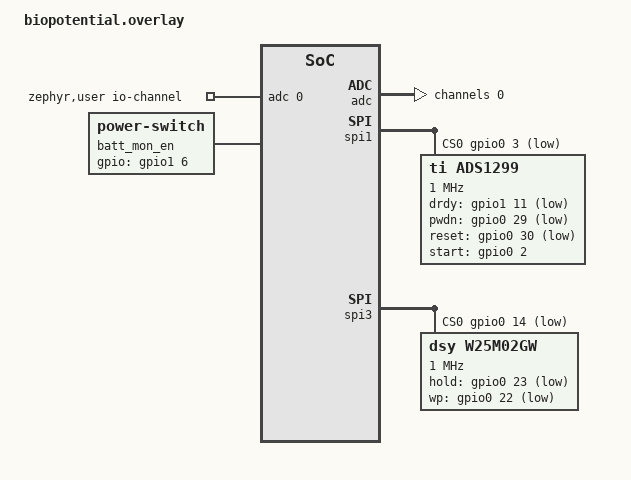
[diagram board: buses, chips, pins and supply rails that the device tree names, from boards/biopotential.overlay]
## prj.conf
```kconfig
CONFIG_GPIO=y
CONFIG_SPI=y
CONFIG_ADC=y
CONFIG_APPLICATION_DEFINED_SYSCALL=y

#Logging
CONFIG_LOG=y
CONFIG_LOG_MODE_DEFERRED=y
CONFIG_LOG_PROCESS_THREAD=y
CONFIG_LOG_PROCESS_THREAD_PRIORITY=7


CONFIG_UART_CONSOLE=n
CONFIG_CONSOLE=y
CONFIG_USE_SEGGER_RTT=y
CONFIG_RTT_CONSOLE=y
CONFIG_LOG_BUFFER_SIZE=4096
CONFIG_SEGGER_RTT_BUFFER_SIZE_UP=1024
CONFIG_SEGGER_RTT_BUFFER_SIZE_DOWN=1024



# Bluetooth LE
CONFIG_BT=y
CONFIG_BT_PERIPHERAL=y
CONFIG_BT_DEVICE_NAME="NI-ECG-01"
CONFIG_BT_CTLR=y
CONFIG_BT_CTLR_TX_PWR_PLUS_8=y
CONFIG_BT_LL_SW_SPLIT=y

CONFIG_BT_L2CAP_TX_MTU=247
CONFIG_BT_CTLR_DATA_LENGTH_MAX=251
CONFIG_BT_BUF_ACL_RX_SIZE=251
CONFIG_BT_BUF_ACL_RX_COUNT=8
CONFIG_BT_BUF_ACL_TX_SIZE=251
CONFIG_BT_BUF_ACL_TX_COUNT=8
CONFIG_BT_BUF_CMD_TX_COUNT=8
CONFIG_BT_PERIPHERAL_PREF_MIN_INT=6
CONFIG_BT_PERIPHERAL_PREF_MAX_INT=6
CONFIG_BT_PERIPHERAL_PREF_LATENCY=0
CONFIG_BT_PERIPHERAL_PREF_TIMEOUT=200
CONFIG_BT_RX_STACK_SIZE=4096



# Increase stack size for the main thread and System Workqueue

CONFIG_SYSTEM_WORKQUEUE_STACK_SIZE=8196
CONFIG_MAIN_STACK_SIZE=8196
CONFIG_NET_TX_STACK_SIZE=2048




CONFIG_DK_LIBRARY=y



CONFIG_CPU_LOAD=y
CONFIG_CPU_LOAD_LOG_INTERVAL=2000
CONFIG_CPU_LOAD_LOG_PERIODIC=y


# STEP 2 - Enable MCUboot and FOTA
# CONFIG_MAX86141=y
CONFIG_ADS1299=y

CONFIG_ADS1299_SAMPLE_RATE=250
CONFIG_MAX30003=y
CONFIG_W25M02GW=y
CONFIG_BOOTLOADER_MCUBOOT=y
CONFIG_NCS_SAMPLE_MCUMGR_BT_OTA_DFU=y

# DSP
CONFIG_CMSIS_DSP=y

# Stack safety
CONFIG_THREAD_STACK_INFO=y
CONFIG_THREAD_ANALYZER=y
CONFIG_THREAD_ANALYZER_AUTO=y
CONFIG_THREAD_ANALYZER_RUN_UNLOCKED=y
```

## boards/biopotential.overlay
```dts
/ {
    zephyr,user {
        io-channels = <&adc 0>;
    };

	batt_mon_en: batt_mon_en {
		compatible = "power-switch";
        status = "okay";
		gpios= <&gpio1 6 GPIO_ACTIVE_HIGH>;
	};


};


&adc {
	#address-cells = <1>;
	#size-cells = <0>;
	status = "okay";
	channel@0 {
		reg = <0>;
		zephyr,gain = "ADC_GAIN_1_6";
		zephyr,reference = "ADC_REF_INTERNAL";
		zephyr,acquisition-time = <ADC_ACQ_TIME_DEFAULT>;
		zephyr,input-positive = <NRF_SAADC_AIN2>; /* P0.02 for nRF52xx, P0.04 for nRF5340 */
		zephyr,resolution = <12>;
	};
};


&i2c0 {	status = "disabled";};
&i2c1 {	status = "disabled";};
&gpio1{
	status = "okay";
};


	
&spi1 {
    compatible = "nordic,nrf-spim";
	status = "okay";
	pinctrl-names = "default", "sleep";
	cs-gpios = <&gpio0 3 GPIO_ACTIVE_LOW>;
	ads1299: ads1299@0 {
		compatible = "ti,ads1299";
		reg = <0>;
		spi-max-frequency = <1000000>; 
        drdy-gpios = <&gpio1 11 GPIO_ACTIVE_LOW>;
        pwdn-gpios = <&gpio0 29 GPIO_ACTIVE_LOW>;
        reset-gpios = <&gpio0 30 GPIO_ACTIVE_LOW>;
        start-gpios = <&gpio0 2 GPIO_ACTIVE_HIGH>;
	};


};

&spi3 {
    compatible = "nordic,nrf-spim";
    status = "okay";
    pinctrl-names = "default", "sleep";
    cs-gpios = <&gpio0 14 GPIO_ACTIVE_LOW>;
    w25m02gw: w25m02gw@0 {
        compatible = "dsy,w25m02gw";
        reg = <0>;
        spi-max-frequency = <1000000>;
        hold-gpios = <&gpio0 23 GPIO_ACTIVE_LOW>;
        wp-gpios = <&gpio0 22 GPIO_ACTIVE_LOW>;
    };
};







&spi1_default {
    group1 {
        psels = <NRF_PSEL(SPIM_SCK, 0, 5)>,
                <NRF_PSEL(SPIM_MOSI, 0, 28)>,
                <NRF_PSEL(SPIM_MISO, 0, 8)>;
    };
};


&uart0 {
    status = "disabled";
};


&spi3_default {
    group1 {
        psels = <NRF_PSEL(SPIM_SCK, 0, 19)>,
                <NRF_PSEL(SPIM_MISO, 0, 21)>,
                <NRF_PSEL(SPIM_MOSI, 0, 20)>;
    };
};
```

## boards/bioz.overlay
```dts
/ {
    zephyr,user {
        io-channels = <&adc 0>;
    };

	batt_mon_en: batt_mon_en {
		compatible = "power-switch";
        status = "okay";
		gpios= <&gpio1 6 GPIO_ACTIVE_HIGH>;
	};


};


&adc {
	#address-cells = <1>;
	#size-cells = <0>;
	status = "okay";
	channel@0 {
		reg = <0>;
		zephyr,gain = "ADC_GAIN_1_6";
		zephyr,reference = "ADC_REF_INTERNAL";
		zephyr,acquisition-time = <ADC_ACQ_TIME_DEFAULT>;
		zephyr,input-positive = <NRF_SAADC_AIN2>; /* P0.02 for nRF52xx, P0.04 for nRF5340 */
		zephyr,resolution = <12>;
	};
};


&i2c0 {	status = "disabled";};
&i2c1 {	status = "disabled";};
&gpio1{
	status = "okay";
};


	
&spi1 {
    compatible = "nordic,nrf-spim";
	status = "okay";
	pinctrl-names = "default", "sleep";
	cs-gpios = <&gpio0 28 GPIO_ACTIVE_LOW>;
	afe4960: afe4960@0 {
		compatible = "ti,afe4960";
		reg = <0>;
		spi-max-frequency = <800000>; 
        drdy-gpios = <&gpio0 3 GPIO_ACTIVE_HIGH>;
        rst-gpios = <&gpio0 5 GPIO_ACTIVE_LOW>;
	};


};

&spi3 {
    compatible = "nordic,nrf-spim";
    status = "okay";
    pinctrl-names = "default", "sleep";
    cs-gpios = <&gpio0 14 GPIO_ACTIVE_LOW>;
    w25m02gw: w25m02gw@0 {
        compatible = "dsy,w25m02gw";
        reg = <0>;
        spi-max-frequency = <1000000>;
        hold-gpios = <&gpio0 23 GPIO_ACTIVE_LOW>;
        wp-gpios = <&gpio0 22 GPIO_ACTIVE_LOW>;
    };
};







&spi1_default {
    group1 {
        psels = <NRF_PSEL(SPIM_SCK, 0, 31)>,
                <NRF_PSEL(SPIM_MOSI, 0, 30)>,
                <NRF_PSEL(SPIM_MISO, 0, 29)>;
    };
};


&uart0 {
    status = "disabled";
};


&spi3_default {
    group1 {
        psels = <NRF_PSEL(SPIM_SCK, 0, 19)>,
                <NRF_PSEL(SPIM_MISO, 0, 21)>,
                <NRF_PSEL(SPIM_MOSI, 0, 20)>;
    };
};
```

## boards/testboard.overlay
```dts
&i2c0 {	status = "disabled";};

&i2c1 {	status = "disabled";};
&gpio1{
	status = "okay";
};
	


&spi3 {
    compatible = "nordic,nrf-spim";
    status = "okay";
    pinctrl-names = "default", "sleep";
    cs-gpios = <&gpio0 17 GPIO_ACTIVE_LOW>;
    w25m02gw: w25m02gw@0 {
        compatible = "dsy,w25m02gw";
        reg = <0>;
        spi-max-frequency = <1000000>;
        hold-gpios = <&gpio0 23 GPIO_ACTIVE_LOW>;
        wp-gpios = <&gpio0 22 GPIO_ACTIVE_LOW>;
    };
};







&spi1_default {
    group1 {
        psels = <NRF_PSEL(SPIM_SCK, 0, 5)>,
                <NRF_PSEL(SPIM_MOSI, 0, 28)>,
                <NRF_PSEL(SPIM_MISO, 0, 8)>;
    };
};


&uart0 {
    status = "disabled";
};


&spi3_default {
    group1 {
        psels = <NRF_PSEL(SPIM_SCK, 0, 19)>,
                <NRF_PSEL(SPIM_MISO, 0, 21)>,
                <NRF_PSEL(SPIM_MOSI, 0, 20)>;
    };
};
```

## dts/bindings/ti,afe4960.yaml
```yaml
# Copyright (c) 2023, Nordic Semiconductor
# SPDX-License-Identifier: Apache-2.0

description: AFE4960 24-bit, 8-Channel, 32kSPS, Analog-to-Digital Converter

compatible: "ti,afe4960"

include: spi-device.yaml

properties:
  drdy-gpios:
    type: phandle-array
    required: false
    description: INT interrupt pin

  rst-gpios:
    type: phandle-array
    required: false
    description: Reset pin
```

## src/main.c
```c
/*
 * Copyright (c) 2024 Nordic Semiconductor ASA
 *
 * SPDX-License-Identifier: LicenseRef-Nordic-5-Clause
 */

#include <stdio.h>
#include <zephyr/kernel.h>
#include <zephyr/device.h>
#include <zephyr/devicetree.h>
#include <zephyr/drivers/gpio.h>
#include <zephyr/drivers/spi.h>
#include <zephyr/logging/log.h>
#include <zephyr/sys/util.h>
#include <zephyr/init.h>

#include <zephyr/bluetooth/bluetooth.h>
#include <zephyr/bluetooth/gap.h>
#include <zephyr/bluetooth/uuid.h>
#include <zephyr/bluetooth/conn.h>

#include <zephyr/kernel/thread.h>

#include "ble.h"


#include <debug/cpu_load.h>
#include <arm_math.h>
// #include <max86141.h>

LOG_MODULE_REGISTER(MAXBLE, LOG_LEVEL_INF);

#define SPIOP	SPI_WORD_SET(8) | SPI_TRANSFER_MSB




#define BLOCK_SIZE 32
#define NUM_TAPS 51

// Example FIR low-pass filter coefficients




// K_THREAD_DEFINE(computationally_exp, 4096, computation_task, NULL, NULL, NULL, 7, 0, 0);
void print_thread_info(const struct k_thread *thread, void *user_data)
{
    const char *thread_name = k_thread_name_get((struct k_thread *)thread);
    
    printk("Thread ID: %p, Name: %s, Priority: %d\n",
           thread, 
           thread_name ? thread_name : "Unnamed",
           k_thread_priority_get((struct k_thread *)thread));
}

void main(void)
{
    // printk("Listing all threads:\n");
    // k_thread_foreach(print_thread_info, NULL);
    // printk("Listing all threads:\n");
    // k_thread_foreach(print_thread_info, NULL);
    // thread_analyzer_print();
    cpu_load_init();
}
```

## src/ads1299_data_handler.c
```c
// ads1299_data_handler.c

#include <stdio.h>
#include <string.h>
#include <zephyr/kernel.h>
#include <zephyr/device.h>
#include <zephyr/logging/log.h>
#include <zephyr/sys/util.h>

#include "ads1299.h"
#include "ble_sensor_control.h"
#include "disk.h"
#include "w25m02gw.h"

LOG_MODULE_REGISTER(ads1299_data_handler, LOG_LEVEL_DBG);

// Constants


////////////////////////////////////////////////
#define DEBUG_MODE 0 // Do NOT FORGET THIS!!!!!!
////////////////////////////////////////////////
#if DEBUG_MODE
#include <math.h>

#define NUM_CHANNELS 8
#define M_PI 3.14159
#define DEG_TO_RAD(angle) ((angle) * M_PI / 180.0f)

static int generate_sine_wave(uint8_t *buffer, size_t size, size_t sample_rate, float frequency, float amplitude)
{
    static size_t sample_index = 0;
    int32_t *int_buffer = (int32_t *)buffer;

    // Phase shift in radians for each channel (10 degrees per channel)
    float phase_shift[NUM_CHANNELS];
    for (int i = 0; i < NUM_CHANNELS; i++) {
        phase_shift[i] = DEG_TO_RAD(10 * i);
    }

    size_t total_samples = size / sizeof(int32_t);

    for (size_t i = 0; i < total_samples; i++) {
        // Calculate the current channel (wraps around NUM_CHANNELS)
        int channel = i % NUM_CHANNELS;

        // Generate the sine wave for the current channel
        float angle = 2.0f * M_PI * frequency * (sample_index / (float)sample_rate) + phase_shift[channel];
        int_buffer[i] = (int32_t)(amplitude * sin(angle));

        // Increment sample_index for the first channel only
        if (channel == NUM_CHANNELS - 1) {
            sample_index++;
        }
    }

    return 0;
}
#endif


#define ADS1299_DATA_BUFFER_SIZE 27   // 27 bytes from ADS1299
#define ADS1299_NUM_CHANNELS 8

#define FLASH_PAGE_SIZE 2048          // 2048 bytes per page
#define FLASH_PAGES_PER_BLOCK 64
#define FLASH_BLOCK_SIZE (FLASH_PAGE_SIZE * FLASH_PAGES_PER_BLOCK)
#define FLASH_TOTAL_BLOCKS 1024

#define FLASH_BUFFER_SIZE 512          // Number of int32_t samples to buffer before writing to flash

#define BLE_PACKAGE_SIZE 128           // BLE package size in bytes
#define BLE_SAMPLES_PER_PACKAGE (BLE_PACKAGE_SIZE / (ADS1299_NUM_CHANNELS * sizeof(int32_t))) // 4 samples per channel

#define PRIORITY 1

// Device instance
const struct device *ads1299_dev = DEVICE_DT_GET(DT_NODELABEL(ads1299));
const struct device *w25m02gw_dev = DEVICE_DT_GET(DT_NODELABEL(w25m02gw));

// Data buffers
static uint8_t data_buffer[ADS1299_DATA_BUFFER_SIZE] = {0};
static int32_t flash_buffer[FLASH_BUFFER_SIZE] = {0};
static int32_t read_buffer[FLASH_BUFFER_SIZE] = {0};

// Indices and counters
static uint16_t flash_buffer_index = 0;
static uint16_t write_block_addr = 0;
static uint16_t write_page_addr = 0;
static uint16_t read_block_addr = 0;
static uint16_t read_page_addr = 0;
static size_t read_offset = 0;

static uint8_t recording_active = 1;  // Set to 1 to enable recording
static uint32_t data_counter = 0;

// BLE streaming buffer
static int32_t ble_stream_buffer[ADS1299_NUM_CHANNELS * BLE_SAMPLES_PER_PACKAGE] = {0};
static uint16_t ble_sample_index = 0;

// BLE callback struct


// Function prototypes
static void process_data(uint8_t *data_buffer);
static void write_flash_buffer(void);
static int download_data(uint8_t *output_buffer, size_t buffer_size);
static int sensor_read_data_cb(uint8_t *data);



// Process ADS1299 data and store in flash buffer
static size_t num_byte_ready(void)
{
    size_t write_offset = (write_block_addr * FLASH_BLOCK_SIZE) + (write_page_addr * FLASH_PAGE_SIZE);
    size_t read_offset_total = (read_block_addr * FLASH_BLOCK_SIZE) + (read_page_addr * FLASH_PAGE_SIZE) + read_offset;

    if (write_offset >= read_offset_total) {
        return write_offset - read_offset_total; // Normal case
    } else {
        return (FLASH_TOTAL_BLOCKS * FLASH_BLOCK_SIZE) - (read_offset_total - write_offset); // Wrap-around case
    }
}


static void preload_dummy_data(void)
{
#if DEBUG_MODE

    write_block_addr = 40;
    write_page_addr = 0;

#endif
}


static void process_data(uint8_t *data_buffer)
{
    uint32_t status = 0;

    // Combine the 3 status bytes into a 24-bit status word
    status = (data_buffer[0] << 16) | (data_buffer[1] << 8) | data_buffer[2];

    for (int i = 0; i < ADS1299_NUM_CHANNELS; i++) {
        // Combine three bytes into a 24-bit signed integer (two's complement)
        int32_t raw_value = (int32_t)((data_buffer[3 + (i * 3)] << 16) |
                                      (data_buffer[4 + (i * 3)] << 8) |
                                      (data_buffer[5 + (i * 3)]));

        // Sign extension for negative values
        if (raw_value & 0x800000) {
            raw_value |= 0xFF000000;
        }

        // Store the converted data into the flash buffer
        flash_buffer[flash_buffer_index++] = raw_value;

        // Store data into BLE stream buffer
        // ble_stream_buffer[ble_sample_index++] = raw_value;

        // Check if BLE stream buffer is full
        // if (ble_sample_index >= (ADS1299_NUM_CHANNELS * BLE_SAMPLES_PER_PACKAGE)) {
        //     send_ble_package();
        //     ble_sample_index = 0;
        // }
    }

    // Check if flash buffer is full and write to flash
    if (flash_buffer_index >= FLASH_BUFFER_SIZE) {
        write_flash_buffer();
        flash_buffer_index = 0;
    }
}

// Write flash buffer to flash memory
static void write_flash_buffer(void)
{
    int err;

    // Write the flash_buffer to flash memory
    err = w25m02gw_write(w25m02gw_dev, write_block_addr, write_page_addr, (uint8_t *)flash_buffer, sizeof(flash_buffer));
    if (err < 0) {
        LOG_ERR("Failed to write data to flash");
        return;
    }

    // Update page and block addresses
    write_page_addr++;
    if (write_page_addr >= FLASH_PAGES_PER_BLOCK) {
        write_page_addr = 0;
        write_block_addr = (write_block_addr + 1) % FLASH_TOTAL_BLOCKS;
        // Erase the new block before writing
        err = w25m02gw_erase_block(w25m02gw_dev, write_block_addr);
        if (err < 0) {
            LOG_ERR("Failed to erase flash block");
            return;
        }
    }

    // Prevent overwriting unread data
    if ((write_block_addr == read_block_addr) && (write_page_addr == read_page_addr)) {
        LOG_ERR("Flash buffer overflow: overwriting unread data");
        // Handle overflow (e.g., stop recording, overwrite old data, etc.)
        recording_active = 0;  // Example action: stop recording
    }
}

// Download data from flash memory for BLE transmission
// static int download_data(uint8_t *output_buffer, size_t buffer_size)
// {
//     int err;

//     if (read_offset == 0) {
//         // Read a page from flash into the read_buffer

//         err = w25m02gw_read(w25m02gw_dev, read_block_addr, read_page_addr, 0, (uint8_t *)read_buffer, sizeof(read_buffer));

//         if (err < 0) {
//             LOG_ERR("Failed to read data from flash");
//             return -1;
//         }

//         printk("Read buffer (int32_t):\n");
//         for (size_t i = 0; i < FLASH_BUFFER_SIZE; i++) {
//             printk("[%d]: %d\n", i, read_buffer[i]);
//         }
//     }
//     printk("Read offset: %d\n", read_offset);

//     // Calculate how much data we can copy
//     size_t bytes_available = sizeof(read_buffer) - read_offset;
//     size_t bytes_to_copy = MIN(buffer_size, bytes_available);

//     // Copy data from read_buffer to output_buffer
//     printk("Bytes to copy: %d\n", bytes_to_copy);
//     memcpy(output_buffer, ((uint8_t *)read_buffer) + read_offset, bytes_to_copy);
//     read_offset += bytes_to_copy;

//     // If we've read the entire page, move to the next one
//     if (read_offset >= sizeof(read_buffer)) {
//         read_offset = 0;
//         read_page_addr++;
//         if (read_page_addr >= FLASH_PAGES_PER_BLOCK) {
//             read_page_addr = 0;
//             read_block_addr = (read_block_addr + 1) % FLASH_TOTAL_BLOCKS;
//         }
//     }

//     return bytes_to_copy;
// }


static int download_data(uint8_t *output_buffer, size_t buffer_size)
{
    int err;

    if (read_offset == 0) {
#if DEBUG_MODE
        // Generate a sine wave instead of reading from flash
        err = generate_sine_wave((uint8_t *)read_buffer, sizeof(read_buffer), 1000, 10.0f, 1000000.0f); // 1 kHz sample rate, 10 Hz sine wave, amplitude 1M
        if (err < 0) {
            LOG_ERR("Failed to generate sine wave data");
            return -1;
        }
#else
        // Read a page from flash into the read_buffer
        err = w25m02gw_read(w25m02gw_dev, read_block_addr, read_page_addr, 0, (uint8_t *)read_buffer, sizeof(read_buffer));
        if (err < 0) {
            LOG_ERR("Failed to read data from flash");
            return -1;
        }
#endif

        // Debugging: Print the content of the read_buffer as int32_t
        printk("Read buffer (int32_t):\n");
        for (size_t i = 0; i < FLASH_BUFFER_SIZE; i++) {
            printk("[%d]: %d\n", i, read_buffer[i]);
        }
    }

    // Calculate how much data we can copy
    size_t bytes_available = sizeof(read_buffer) - read_offset;
    size_t bytes_to_copy = MIN(buffer_size, bytes_available);

    // Copy data from read_buffer to output_buffer
    printk("Bytes to copy: %d\n", bytes_to_copy);
    memcpy(output_buffer, ((uint8_t *)read_buffer) + read_offset, bytes_to_copy);
    read_offset += bytes_to_copy;

    // If we've read the entire page, move to the next one
    if (read_offset >= sizeof(read_buffer)) {
        read_offset = 0;
        read_page_addr++;
        if (read_page_addr >= FLASH_PAGES_PER_BLOCK) {
            read_page_addr = 0;
            read_block_addr = (read_block_addr + 1) % FLASH_TOTAL_BLOCKS;
        }
    }

    return bytes_to_copy;
}


// BLE callback function to read data
static int sensor_read_data_cb(uint8_t *data)
{
    printk("Reading data cb found\n");
    // Define the size of data to read (128 bytes)
    size_t data_size = BLE_PACKAGE_SIZE;
    int bytes_read = download_data(data, data_size);
    if (bytes_read < 0) {
        // Handle error
        return -1;
    }
    return bytes_read;
}


static int toggle_sensor(uint8_t value)
{
    printk("This is triggered\n");
    if (value) {
        // Wake up sensor
        ads1299_wakeup(ads1299_dev);
    } else {
        // Put sensor in standby
        ads1299_standby(ads1299_dev);

    }
    return 0;
}
// Initialize BLE callbacks
struct ble_sensor_ctrl_cb control_cb = {
    .sensor_read_data_cb = sensor_read_data_cb,
    .sensor_switch_cb = toggle_sensor,
    .sensor_read_fifo_size_cb = num_byte_ready
    // Initialize other callbacks if necessary
};

// Data acquisition thread
void data_thread(void)
{
    int err;
    printk("Is this even executed????\n");
    // Register BLE callbacks
    register_ble_cb(&control_cb);

    #if DEBUG_MODE
    preload_dummy_data();
    #endif

    if (!device_is_ready(ads1299_dev)) {
        LOG_ERR("ADS1299 device not ready");
        return;
    }

    while (1) {
        // Read data from ADS1299
        err = ads1299_read_data(ads1299_dev, data_buffer, ADS1299_DATA_BUFFER_SIZE);
        if (err == 0) {
            // Process raw data
            data_counter++;
            process_data(data_buffer);

            // Save data to flash if recording is active
            if (recording_active) {
                // Data is already saved in process_data
            }

            k_yield();
        } else {
            LOG_ERR("Failed to read data from ADS1299");
            // Handle read error if necessary
        }
    }
}

// Define the data_thread as a Zephyr thread
K_THREAD_DEFINE(data_thread_id, 4096, data_thread, NULL, NULL, NULL, PRIORITY, 0, 0);
```

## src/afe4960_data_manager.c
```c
// // File: src/sensor_data_manager.c

#include <stdio.h>
#include <string.h>
#include <zephyr/kernel.h>
#include <zephyr/device.h>
#include <zephyr/logging/log.h>
#include <zephyr/sys/util.h>

#include "afe4960.h"
#include "ble_sensor_control.h"
// #include "disk.h"
// #include "stream.h"

#define PRIORITY -1
const struct device *afe4960_dev = DEVICE_DT_GET(DT_NODELABEL(afe4960));
LOG_MODULE_REGISTER(AFE4960_DATA_MANAGER, LOG_LEVEL_INF);
// Main data thread

static int process_raw_data(uint8_t *data_buffer, int32_t *ecg_buffer, int32_t *biozi_buffer, int32_t *biozq_buffer)
{
    int ecg_index = 0;
    int bioz_i_index = 0;
    int bioz_q_index = 0;

    // Process 900 bytes of data_buffer
    for (int i = 0; i < 384; i += 3) {
        // Combine three bytes into a 24-bit unsigned integer (big-endian)
        uint32_t raw_data = (uint32_t)(data_buffer[i] << 16 | data_buffer[i + 1] << 8 | data_buffer[i + 2]);

        // Extract the tag bits (bits [1:0])
        uint8_t tag = raw_data & 0x03;

        // Extract the 22-bit data (bits [23:2])
        int32_t data_value = (raw_data >> 2) & 0x003FFFFF;

        // Sign-extend the 22-bit data to a 32-bit signed integer
        if (data_value & 0x00200000) {
            data_value |= 0xFFC00000; // Set bits [31:22] to 1 for negative numbers
        }

        // Switch based on the tag to assign data to the correct buffer
        switch (tag) {
            case 0x01: // ECG sample
                if (ecg_index < 100) {
                    ecg_buffer[ecg_index++] = data_value;
                }
                break;
            case 0x02: // BioZ-I sample
                LOG_ERR("TAG 10? You shouldn't be here");
                break;
            case 0x03: // BioZ-Q sample
                LOG_ERR("TAG 11? You shouldn't be here");
                break;
            default:
                // Ignore unknown tags
                break;
        }
    }

    return 0;
}

void afe4960_data_thread(void)
{
    LOG_INF("data_thread started. Thread ID: %p", k_current_get());
    k_thread_name_set(k_current_get(), "DataThread");

    uint8_t data_buffer[384] = {0};
    int32_t ecg_buffer[128] = {0};
    int32_t biozi_buffer[128] = {0};
    int32_t biozq_buffer[128] = {0};
    int32_t ecg_chunk[4] = {0};

    int err;

    if (!device_is_ready(afe4960_dev)) {
        LOG_ERR("AFE4960 device not ready");
        return;
    }

    while (1) {
        // Read data from AFE4960 (controlled by semaphore)
        err = afe4960_read_data(afe4960_dev, data_buffer);
        if (err < 0) {
            LOG_ERR("Failed to read data from AFE4960: %d", err);
            continue;
        }

        // Process raw data into separate buffers
        err = process_raw_data(data_buffer, ecg_buffer, biozi_buffer, biozq_buffer);
        if (err < 0) {
            LOG_ERR("Failed to process raw data: %d", err);
            continue;
        }

        // Split ecg_buffer into chunks of 5 samples each
        for (int i = 0; i < 128; i += 4) {
            memcpy(ecg_chunk, &ecg_buffer[i], sizeof(ecg_chunk));

            // Stream the chunk
            err = stream_sensor_data(0, ecg_chunk, sizeof(ecg_chunk));
            if (err < 0) {
                LOG_ERR("Failed to stream ECG data: %d", err);
            }
        }

        k_yield();
    }
}

// K_THREAD_DEFINE(afe4960_data_thread_id, 4096 * 4, afe4960_data_thread, NULL, NULL, NULL, PRIORITY, 0, 0);
```

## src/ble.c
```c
// ble.c
#include <zephyr/types.h>
#include <stddef.h>
#include <string.h>
#include <errno.h>
#include <zephyr/sys/printk.h>
#include <zephyr/sys/byteorder.h>
#include <zephyr/kernel.h>
#include <zephyr/logging/log.h>
#include <zephyr/bluetooth/bluetooth.h>
#include <zephyr/bluetooth/hci.h>
#include <zephyr/bluetooth/conn.h>
#include <zephyr/bluetooth/uuid.h>
#include <zephyr/bluetooth/gatt.h>
#include <zephyr/device.h>
#include <zephyr/devicetree.h>
#include <zephyr/sys/reboot.h>

#include "ble.h"
#include "sensor_data_manager.h"
#include "max86141.h"
#include "state.h"

// #define PRIO K_HIGHEST_APPLICATION_THREAD_PRIO + 1
#define PRIO 7

LOG_MODULE_REGISTER(BLE);


static bool sensor_state = false;



// const SystemStatus* sys_stat_ptr; 

static bool stream_sensor_channel1_enabled;
static bool stream_sensor_channel2_enabled;
static bool stream_sensor_channel3_enabled;
static bool stream_sensor_channel4_enabled;
static bool stream_sensor_channel5_enabled;
static bool stream_sensor_channel6_enabled;
static bool stream_sensor_channel7_enabled;
static bool stream_sensor_channel8_enabled;
static bool stream_sensor_hr_enabled;
static bool stream_sensor_spo2_enabled;
static bool stream_sensor_temp_enabled;
static bool stream_sensor_glucose_enabled;
static bool is_streaming = false;
static bool is_sensor_on = false;

static char dbg_message[1024]="Hello world\n\0";
static struct ble_cb cb;



static void ble_ccc_stream_channel1_cfg_changed(const struct bt_gatt_attr *attr, uint16_t value)
{
	stream_sensor_channel1_enabled = (value == BT_GATT_CCC_NOTIFY);
}
static void ble_ccc_stream_channel2_cfg_changed(const struct bt_gatt_attr *attr, uint16_t value)
{
	stream_sensor_channel2_enabled = (value == BT_GATT_CCC_NOTIFY);
}
static void ble_ccc_stream_channel3_cfg_changed(const struct bt_gatt_attr *attr, uint16_t value)
{
	stream_sensor_channel3_enabled = (value == BT_GATT_CCC_NOTIFY);
}
static void ble_ccc_stream_channel4_cfg_changed(const struct bt_gatt_attr *attr, uint16_t value)
{
	stream_sensor_channel4_enabled = (value == BT_GATT_CCC_NOTIFY);
}
static void ble_ccc_stream_channel5_cfg_changed(const struct bt_gatt_attr *attr, uint16_t value)
{
	stream_sensor_channel5_enabled = (value == BT_GATT_CCC_NOTIFY);
}
static void ble_ccc_stream_channel6_cfg_changed(const struct bt_gatt_attr *attr, uint16_t value)
{
	stream_sensor_channel6_enabled = (value == BT_GATT_CCC_NOTIFY);
}
static void ble_ccc_stream_channel7_cfg_changed(const struct bt_gatt_attr *attr, uint16_t value)
{
	stream_sensor_channel7_enabled = (value == BT_GATT_CCC_NOTIFY);
}
static void ble_ccc_stream_channel8_cfg_changed(const struct bt_gatt_attr *attr, uint16_t value)
{
	stream_sensor_channel8_enabled = (value == BT_GATT_CCC_NOTIFY);
}
static void ble_ccc_stream_hr_cfg_changed(const struct bt_gatt_attr *attr, uint16_t value)
{
	stream_sensor_hr_enabled = (value == BT_GATT_CCC_NOTIFY);
}
static void ble_ccc_stream_spo2_cfg_changed(const struct bt_gatt_attr *attr, uint16_t value)
{
	stream_sensor_spo2_enabled = (value == BT_GATT_CCC_NOTIFY);
}
static void ble_ccc_stream_temp_cfg_changed(const struct bt_gatt_attr *attr, uint16_t value)
{
	stream_sensor_temp_enabled = (value == BT_GATT_CCC_NOTIFY);
}
static void ble_ccc_stream_glucose_cfg_changed(const struct bt_gatt_attr *attr, uint16_t value)
{
	stream_sensor_glucose_enabled = (value == BT_GATT_CCC_NOTIFY);
}





static ssize_t write_sensor_sw(struct bt_conn *conn, const struct bt_gatt_attr *attr, const void *buf, uint16_t len, uint16_t offset, uint8_t flags)
{
	if (len != 1) {
		return BT_GATT_ERR(BT_ATT_ERR_INVALID_ATTRIBUTE_LEN);
	}

	uint8_t value = *((uint8_t *)buf);

	if(value == 1){
		cb.sensor_switch_cb(1);
	}else{
		cb.sensor_switch_cb(0);
	}
	is_sensor_on = value;



	return len;
}
static ssize_t read_sensor_sw(struct bt_conn *conn, const struct bt_gatt_attr *attr, void *buf, uint16_t len, uint16_t offset) {
    uint8_t sensor_sw_value = is_sensor_on; 
	// if(fw_get_state() == STATE_OPERATING){
	// 	sensor_sw_value = 1;
	// }else{
	// 	sensor_sw_value = 0;
	// }


    return bt_gatt_attr_read(conn, attr, buf, len, offset, &sensor_sw_value, sizeof(sensor_sw_value));
}

static ssize_t write_sensor_data_download_sw(struct bt_conn *conn, const struct bt_gatt_attr *attr, const void *buf, uint16_t len, uint16_t offset, uint8_t flags)
{
	if (len != 1) {
		return BT_GATT_ERR(BT_ATT_ERR_INVALID_ATTRIBUTE_LEN);
	}

	uint8_t value = *((uint8_t *)buf);

	if(value == 1){
		cb.sensor_data_download_cb(1);
	}else{
		cb.sensor_data_download_cb(0);
	}

	return len;
}

static ssize_t bt_write_reset(struct bt_conn *conn, const struct bt_gatt_attr *attr, const void *buf, uint16_t len, uint16_t offset, uint8_t flags)
{
	if (len != 1) {
		return BT_GATT_ERR(BT_ATT_ERR_INVALID_ATTRIBUTE_LEN);
	}

	uint8_t value = *((uint8_t *)buf);

	if (!value) {
		sys_reboot(SYS_REBOOT_COLD);
		printk("Resetting\n");
	}

	return len;
}


static ssize_t write_sensor_stream_sw(struct bt_conn *conn, const struct bt_gatt_attr *attr, const void *buf, uint16_t len, uint16_t offset, uint8_t flags)
{
	if (len != 1) {
		return BT_GATT_ERR(BT_ATT_ERR_INVALID_ATTRIBUTE_LEN);
	}

	uint8_t value = *((uint8_t *)buf);

	is_streaming = value;



	return len;
}

static ssize_t read_sensor_stream_sw(struct bt_conn *conn, const struct bt_gatt_attr *attr, void *buf, uint16_t len, uint16_t offset) {
    // bool is_streaming;
	// is_streaming = fw_get_is_streaming();
	bool _is_streaming = is_streaming;

    return bt_gatt_attr_read(conn, attr, buf, len, offset, &_is_streaming, sizeof(_is_streaming));
}


BT_GATT_SERVICE_DEFINE(
	exg_service,
	BT_GATT_PRIMARY_SERVICE(BT_UUID),

	BT_GATT_CHARACTERISTIC(BT_UUID_SENSOR_STREAM_CHANNEL1, BT_GATT_CHRC_NOTIFY, BT_GATT_PERM_NONE, NULL,
			       NULL, NULL),
	BT_GATT_CCC(ble_ccc_stream_channel1_cfg_changed, BT_GATT_PERM_READ | BT_GATT_PERM_WRITE),

	BT_GATT_CHARACTERISTIC(BT_UUID_SENSOR_STREAM_CHANNEL2, BT_GATT_CHRC_NOTIFY, BT_GATT_PERM_NONE, NULL,
			       NULL, NULL),
	BT_GATT_CCC(ble_ccc_stream_channel2_cfg_changed, BT_GATT_PERM_READ | BT_GATT_PERM_WRITE),

	BT_GATT_CHARACTERISTIC(BT_UUID_SENSOR_STREAM_CHANNEL3, BT_GATT_CHRC_NOTIFY, BT_GATT_PERM_NONE, NULL,
			       NULL, NULL),
	BT_GATT_CCC(ble_ccc_stream_channel3_cfg_changed, BT_GATT_PERM_READ | BT_GATT_PERM_WRITE),

	BT_GATT_CHARACTERISTIC(BT_UUID_SENSOR_STREAM_CHANNEL4, BT_GATT_CHRC_NOTIFY, BT_GATT_PERM_NONE, NULL,
			       NULL, NULL),
	BT_GATT_CCC(ble_ccc_stream_channel4_cfg_changed, BT_GATT_PERM_READ | BT_GATT_PERM_WRITE),

	BT_GATT_CHARACTERISTIC(BT_UUID_SENSOR_STREAM_CHANNEL5, BT_GATT_CHRC_NOTIFY, BT_GATT_PERM_NONE, NULL,
			       NULL, NULL),
	BT_GATT_CCC(ble_ccc_stream_channel5_cfg_changed, BT_GATT_PERM_READ | BT_GATT_PERM_WRITE),

	BT_GATT_CHARACTERISTIC(BT_UUID_SENSOR_STREAM_CHANNEL6, BT_GATT_CHRC_NOTIFY, BT_GATT_PERM_NONE, NULL,
			       NULL, NULL),
	BT_GATT_CCC(ble_ccc_stream_channel6_cfg_changed, BT_GATT_PERM_READ | BT_GATT_PERM_WRITE),

	BT_GATT_CHARACTERISTIC(BT_UUID_SENSOR_STREAM_CHANNEL7, BT_GATT_CHRC_NOTIFY, BT_GATT_PERM_NONE, NULL,
			       NULL, NULL),
	BT_GATT_CCC(ble_ccc_stream_channel7_cfg_changed, BT_GATT_PERM_READ | BT_GATT_PERM_WRITE),

	BT_GATT_CHARACTERISTIC(BT_UUID_SENSOR_STREAM_CHANNEL8, BT_GATT_CHRC_NOTIFY, BT_GATT_PERM_NONE, NULL,
			       NULL, NULL),
	BT_GATT_CCC(ble_ccc_stream_channel8_cfg_changed, BT_GATT_PERM_READ | BT_GATT_PERM_WRITE),

	BT_GATT_CHARACTERISTIC(BT_UUID_SENSOR_STREAM_HR, BT_GATT_CHRC_NOTIFY, BT_GATT_PERM_NONE, NULL,
			       NULL, NULL),
	BT_GATT_CCC(ble_ccc_stream_hr_cfg_changed, BT_GATT_PERM_READ | BT_GATT_PERM_WRITE),

	BT_GATT_CHARACTERISTIC(BT_UUID_SENSOR_STREAM_SPO2, BT_GATT_CHRC_NOTIFY, BT_GATT_PERM_NONE, NULL,
			       NULL, NULL),
	BT_GATT_CCC(ble_ccc_stream_spo2_cfg_changed, BT_GATT_PERM_READ | BT_GATT_PERM_WRITE),

	BT_GATT_CHARACTERISTIC(BT_UUID_SENSOR_STREAM_TEMP, BT_GATT_CHRC_NOTIFY, BT_GATT_PERM_NONE, NULL,
			       NULL, NULL),
	BT_GATT_CCC(ble_ccc_stream_temp_cfg_changed, BT_GATT_PERM_READ | BT_GATT_PERM_WRITE),

	BT_GATT_CHARACTERISTIC(BT_UUID_SENSOR_STREAM_GLUCOSE, BT_GATT_CHRC_NOTIFY, BT_GATT_PERM_NONE, NULL,
			       NULL, NULL),
	BT_GATT_CCC(ble_ccc_stream_glucose_cfg_changed, BT_GATT_PERM_READ | BT_GATT_PERM_WRITE),


	BT_GATT_CHARACTERISTIC(BT_UUID_SENSOR_SW, BT_GATT_CHRC_WRITE|BT_GATT_CHRC_READ, BT_GATT_PERM_WRITE|BT_GATT_PERM_READ, read_sensor_sw, write_sensor_sw, &is_sensor_on),
	BT_GATT_CHARACTERISTIC(BT_UUID_RESET, BT_GATT_CHRC_WRITE, BT_GATT_PERM_WRITE, NULL, bt_write_reset, NULL),
	BT_GATT_CHARACTERISTIC(BT_UUID_SENSOR_STREAM_SW, BT_GATT_CHRC_WRITE|BT_GATT_CHRC_READ, BT_GATT_PERM_WRITE|BT_GATT_PERM_READ, read_sensor_stream_sw, write_sensor_stream_sw, &is_streaming),
	BT_GATT_CHARACTERISTIC(BT_UUID_SENSOR_DOWNLOAD_DATA_SW, BT_GATT_CHRC_WRITE, BT_GATT_PERM_WRITE, NULL, write_sensor_data_download_sw, NULL),
);

int init_ble_service(struct ble_cb *callbacks){
	cb.sensor_data_download_cb = callbacks->sensor_data_download_cb;
	cb.sensor_switch_cb = callbacks->sensor_switch_cb;
	return 0;
}

static struct bt_le_adv_param *adv_param = BT_LE_ADV_PARAM(
	(BT_LE_ADV_OPT_CONNECTABLE |
	 BT_LE_ADV_OPT_USE_IDENTITY), /* Connectable advertising and use identity address */
        BT_GAP_ADV_SLOW_INT_MIN,
        BT_GAP_ADV_SLOW_INT_MAX,
	NULL); /* Set to NULL for undirected advertising */

static const struct bt_data ad[] = {
	BT_DATA_BYTES(BT_DATA_FLAGS, (BT_LE_AD_GENERAL | BT_LE_AD_NO_BREDR)),
	BT_DATA(BT_DATA_NAME_COMPLETE, DEVICE_NAME, DEVICE_NAME_LEN),

};

static const struct bt_data sd[] = {
	BT_DATA_BYTES(BT_DATA_UUID128_ALL, BT_UUID_VAL),
};

static void on_connected(struct bt_conn *conn, uint8_t err)
{
	if (err) {
		printk("Connection failed (err %u)\n", err);
		return;
	}

	printk("Connected\n");
	ssize_t mtu = bt_gatt_get_mtu(conn);
	printk("MTU: %d\n", mtu);


}

static void on_disconnected(struct bt_conn *conn, uint8_t reason)
{
	printk("Disconnected (reason %u)\n", reason);


}
struct bt_conn_cb connection_callbacks = {
	.connected = on_connected,
	.disconnected = on_disconnected,
};


int stream_sensor_data(enum SensorType sensor_type, uint32_t *sensor_value, ssize_t size)
{
	struct bt_gatt_attr *attr;
	switch (sensor_type) {
		case CHANNEL1:
			attr = &exg_service.attrs[1];
			if (!stream_sensor_channel1_enabled) {
				return -EACCES;
			}
			break;
		case CHANNEL2:
			attr = &exg_service.attrs[4];
			if (!stream_sensor_channel2_enabled) {
				return -EACCES;
			}
			break;
		case CHANNEL3:
			attr = &exg_service.attrs[7];
			if (!stream_sensor_channel3_enabled) {
				return -EACCES;
			}
			break;
		case CHANNEL4:
			attr = &exg_service.attrs[10];
			if (!stream_sensor_channel1_enabled) {
				return -EACCES;
			}
			break;
		case CHANNEL5:
			attr = &exg_service.attrs[13];
			if (!stream_sensor_channel2_enabled) {
				return -EACCES;
			}
			break;
		case CHANNEL6:
			attr = &exg_service.attrs[16];
			if (!stream_sensor_channel3_enabled) {
				return -EACCES;
			}
			break;
		case CHANNEL7:
			attr = &exg_service.attrs[19];
			if (!stream_sensor_channel1_enabled) {
				return -EACCES;
			}
			break;
		case CHANNEL8:
			attr = &exg_service.attrs[22];
			if (!stream_sensor_channel2_enabled) {
				return -EACCES;
			}
			break;
		case HR:
			attr = &exg_service.attrs[25];
			if (!stream_sensor_hr_enabled) {
				return -EACCES;
			}
			break;
		case SPO2:
			attr = &exg_service.attrs[28];
			if (!stream_sensor_spo2_enabled) {
				return -EACCES;
			}
			break;
		case TEMP:
			attr = &exg_service.attrs[31];
			if (!stream_sensor_temp_enabled) {
				return -EACCES;
			}
			break;
		case GLUCOSE:
			attr = &exg_service.attrs[34];
			if (!stream_sensor_glucose_enabled) {
				return -EACCES;
			}
			break;
		
		default:
			return -EINVAL;
	}
	
	return bt_gatt_notify(NULL, attr, sensor_value, size);
}



int register_ble_cb(struct ble_cb *callbacks){
	cb.sensor_switch_cb = callbacks->sensor_switch_cb;
	cb.sensor_data_download_cb = callbacks->sensor_data_download_cb;
	return 0;
};

int ble_main(void)
{	

	int err;
	// fw_initialize_system_status();
	// sys_stat_ptr = fw_get_system_status();
	init_ble_service(&cb);
	err = bt_enable(NULL);
	if (err) {
		LOG_ERR("Bluetooth init failed (err %d)\n", err);
		return -1;
	}

	bt_conn_cb_register(&connection_callbacks);

	LOG_INF("Bluetooth initialized\n");
	err = bt_le_adv_start(adv_param, ad, ARRAY_SIZE(ad), sd, ARRAY_SIZE(sd));
	if (err) {
		LOG_ERR("Advertising failed to start (err %d)\n", err);
		return -1;
	}

	// stream_sensor_data(1);

	LOG_INF("Advertising successfully started with prioirty: %d\n", PRIO);
	return 0;
}

K_THREAD_DEFINE(ble_t, 4096*10, ble_main, NULL, NULL, NULL, PRIO, 0, 0);
```

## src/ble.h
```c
//ble.h

#ifndef BLE_H_
#define BLE_H_

#include <zephyr/types.h>
enum SensorType {
	CHANNEL1,
	CHANNEL2,
	CHANNEL3,
	CHANNEL4,
	CHANNEL5,
	CHANNEL6,
	CHANNEL7,
	CHANNEL8,
	HR,
	SPO2,
	TEMP,
	GLUCOSE
};




#define DEVICE_NAME CONFIG_BT_DEVICE_NAME
#define DEVICE_NAME_LEN (sizeof(DEVICE_NAME) - 1)
//A0A43180-96BE-4222-B41E-98EA76B0120C
#define BT_UUID_VAL \
	BT_UUID_128_ENCODE(0xA0A43180, 0x96BE, 0x4222, 0xB41E, 0x98EA76B0120C)

#define BT_UUID_SENSOR_STREAM_CHANNEL1_VAL \
	BT_UUID_128_ENCODE(0xA0A43181, 0x96BE, 0x4222, 0xB41E, 0x98EA76B0120C)
#define BT_UUID_SENSOR_STREAM_CHANNEL2_VAL \
	BT_UUID_128_ENCODE(0xA0A43182, 0x96BE, 0x4222, 0xB41E, 0x98EA76B0120C)
#define BT_UUID_SENSOR_STREAM_CHANNEL3_VAL \
	BT_UUID_128_ENCODE(0xA0A43183, 0x96BE, 0x4222, 0xB41E, 0x98EA76B0120C)

#define BT_UUID_SENSOR_STREAM_CHANNEL4_VAL \
	BT_UUID_128_ENCODE(0xA0A43184, 0x96BE, 0x4222, 0xB41E, 0x98EA76B0120C)

#define BT_UUID_SENSOR_STREAM_CHANNEL5_VAL \
	BT_UUID_128_ENCODE(0xA0A43185, 0x96BE, 0x4222, 0xB41E, 0x98EA76B0120C)

#define BT_UUID_SENSOR_STREAM_CHANNEL6_VAL \
	BT_UUID_128_ENCODE(0xA0A43186, 0x96BE, 0x4222, 0xB41E, 0x98EA76B0120C)

#define BT_UUID_SENSOR_STREAM_CHANNEL7_VAL \
	BT_UUID_128_ENCODE(0xA0A43187, 0x96BE, 0x4222, 0xB41E, 0x98EA76B0120C)

#define BT_UUID_SENSOR_STREAM_CHANNEL8_VAL \
	BT_UUID_128_ENCODE(0xA0A43188, 0x96BE, 0x4222, 0xB41E, 0x98EA76B0120C)


#define BT_UUID_SENSOR_STREAM_HR_VAL \
	BT_UUID_128_ENCODE(0xA0A43189, 0x96BE, 0x4222, 0xB41E, 0x98EA76B0120C)
#define BT_UUID_SENSOR_STREAM_SPO2_VAL \
	BT_UUID_128_ENCODE(0xA0A43190, 0x96BE, 0x4222, 0xB41E, 0x98EA76B0120C)
#define BT_UUID_SENSOR_STREAM_TEMP_VAL \
	BT_UUID_128_ENCODE(0xA0A43191, 0x96BE, 0x4222, 0xB41E, 0x98EA76B0120C)
#define BT_UUID_SENSOR_STREAM_GLUCOSE_VAL \
	BT_UUID_128_ENCODE(0xA0A43192, 0x96BE, 0x4222, 0xB41E, 0x98EA76B0120C)



#define BT_UUID_SENSOR_SW_VAL \
	BT_UUID_128_ENCODE(0xA0A43193, 0x96BE, 0x4222, 0xB41E, 0x98EA76B0120C)

#define BT_UUID_RESET_VAL \
	BT_UUID_128_ENCODE(0xA0A43194, 0x96BE, 0x4222, 0xB41E, 0x98EA76B0120C)

#define BT_UUID_SENSOR_STREAM_SW_VAL \
	BT_UUID_128_ENCODE(0xA0A43195, 0x96BE, 0x4222, 0xB41E, 0x98EA76B0120C)

#define BT_UUID_SENSOR_DOWNLOAD_DATA_SW_VAL \
	BT_UUID_128_ENCODE(0xA0A43196, 0x96BE, 0x4222, 0xB41E, 0x98EA76B0120C)







#define BT_UUID           						BT_UUID_DECLARE_128(BT_UUID_VAL)
#define BT_UUID_SENSOR_STREAM_CHANNEL1	  		BT_UUID_DECLARE_128(BT_UUID_SENSOR_STREAM_CHANNEL1_VAL)
#define BT_UUID_SENSOR_STREAM_CHANNEL2	 		BT_UUID_DECLARE_128(BT_UUID_SENSOR_STREAM_CHANNEL2_VAL)
#define BT_UUID_SENSOR_STREAM_CHANNEL3	  		BT_UUID_DECLARE_128(BT_UUID_SENSOR_STREAM_CHANNEL3_VAL)
#define BT_UUID_SENSOR_STREAM_CHANNEL4	  		BT_UUID_DECLARE_128(BT_UUID_SENSOR_STREAM_CHANNEL4_VAL)
#define BT_UUID_SENSOR_STREAM_CHANNEL5	  		BT_UUID_DECLARE_128(BT_UUID_SENSOR_STREAM_CHANNEL5_VAL)
#define BT_UUID_SENSOR_STREAM_CHANNEL6	  		BT_UUID_DECLARE_128(BT_UUID_SENSOR_STREAM_CHANNEL6_VAL)
#define BT_UUID_SENSOR_STREAM_CHANNEL7	  		BT_UUID_DECLARE_128(BT_UUID_SENSOR_STREAM_CHANNEL7_VAL)
#define BT_UUID_SENSOR_STREAM_CHANNEL8	  		BT_UUID_DECLARE_128(BT_UUID_SENSOR_STREAM_CHANNEL8_VAL)

#define BT_UUID_SENSOR_STREAM_HR	  			BT_UUID_DECLARE_128(BT_UUID_SENSOR_STREAM_HR_VAL)
#define BT_UUID_SENSOR_STREAM_SPO2	  			BT_UUID_DECLARE_128(BT_UUID_SENSOR_STREAM_SPO2_VAL)
#define BT_UUID_SENSOR_STREAM_TEMP	  			BT_UUID_DECLARE_128(BT_UUID_SENSOR_STREAM_TEMP_VAL)
#define BT_UUID_SENSOR_STREAM_GLUCOSE	  		BT_UUID_DECLARE_128(BT_UUID_SENSOR_STREAM_GLUCOSE_VAL)

#define BT_UUID_SENSOR_SW       				BT_UUID_DECLARE_128(BT_UUID_SENSOR_SW_VAL)
#define BT_UUID_RESET	  						BT_UUID_DECLARE_128(BT_UUID_RESET_VAL)
#define BT_UUID_SENSOR_STREAM_SW				BT_UUID_DECLARE_128(BT_UUID_SENSOR_STREAM_SW_VAL)
#define BT_UUID_SENSOR_DOWNLOAD_DATA_SW			BT_UUID_DECLARE_128(BT_UUID_SENSOR_DOWNLOAD_DATA_SW_VAL)

typedef int (*sensor_switch_cb_t) (uint8_t value);
typedef int (*sensor_data_download_cb_t) (uint8_t value);


struct ble_cb  {
	sensor_switch_cb_t sensor_switch_cb;
	
	sensor_data_download_cb_t sensor_data_download_cb;
};
struct sensor_state{
	bool is_streaming;
	bool is_empty;
	int data_size;
};

int init_ble_service(struct ble_cb *callbacks);
int register_ble_cb(struct ble_cb *callbacks);
int stream_sensor_data(enum SensorType sensor_type, uint32_t *sensor_value, ssize_t size);


#endif /* BLE_H_ */
```

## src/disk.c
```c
//disk.c
#include "disk.h"
#include <zephyr/kernel.h>
#include <zephyr/device.h>
#include <string.h>
#include <zephyr/logging/log.h>
#include "w25m02gw.h"
#include "ble_sensor_control.h"
// Device instance


// Flash memory specifications
#define PAGE_SIZE 2048               // Size of a page in bytes
#define PAGES_PER_BLOCK 64           // Number of pages per block
#define TOTAL_BLOCKS 1024            // Total number of blocks
#define TOTAL_SIZE (PAGE_SIZE * PAGES_PER_BLOCK * TOTAL_BLOCKS)

// Block and page constraints
#define METADATA_BLOCK 0             // Block used for metadata
#define METADATA_PAGE 0              // Page used for metadata
#define START_BLOCK 1                // Start block for recording data
#define START_PAGE 0                // Skip first 13 pages in each block
#define USABLE_PAGES_PER_BLOCK (PAGES_PER_BLOCK - START_PAGE)

LOG_MODULE_REGISTER(DISK, LOG_LEVEL_INF);

#define MIN(a, b) ((a) < (b) ? (a) : (b))


#define METADATA_SIGNATURE 0xBEADBEEF


typedef struct {
    uint64_t start_time;          // Time of the event
    uint32_t signature;                    // Unique identifier
    char name[RECORDING_NAME_MAX_LENGTH];  // Recording name
    uint32_t size;                         // Size in bytes
    uint16_t current_block;                // Current block being written to
    uint8_t current_page;                  // Current page in the block
    uint16_t event_count;                  // Number of events
    EventMark events[MAX_EVENTS];          // Array of event markings
} DiskMetadata;

static DiskMetadata metadata;


static DiskStatus load_metadata(void);
static DiskStatus save_metadata(void);
static DiskStatus erase_data_blocks(void);

static const struct device *nand_dev = DEVICE_DT_GET_ANY(dsy_w25m02gw);


DiskStatus disk_init(void) {
    if (!nand_dev) {
        printk("Failed to get NAND device\n");
        return DISK_ERR_DEVICE_NOT_READY;
    }

    // Initialize the device (if required)
    if (!device_is_ready(nand_dev)) {
        printk("NAND device not ready\n");
        return DISK_ERR_DEVICE_NOT_READY;
    }

    // Load existing metadata
    return load_metadata();
}


DiskStatus disk_start_recording(const char *name) {
    // Initialize metadata
    printk("Before starting disk has %d bytes of data\n", metadata.size);
    LOG_INF("Starting new recording: %s", name);
    memset(&metadata, 0, sizeof(DiskMetadata));
    LOG_INF("1");
    metadata.signature = METADATA_SIGNATURE;
    LOG_INF("2");
    strncpy(metadata.name, name, RECORDING_NAME_MAX_LENGTH - 1);
    LOG_INF("3");
    metadata.size = 0;
    LOG_INF("4");
    metadata.current_block = START_BLOCK;
    LOG_INF("5");
    metadata.current_page = START_PAGE;
    metadata.event_count = 0;
    LOG_INF("Initialized new metadata");
    // Save metadata
    DiskStatus status = save_metadata();
    if (status != DISK_OK) {
        return status;
    }
    LOG_INF("Saved metadata");

    return DISK_OK;
}




DiskStatus disk_write_data(const uint8_t *data, size_t length) {
    int err;

    // Check if we need to erase the current block
    static uint16_t last_erased_block = 0xFFFF; // Initialize to an invalid block number
    if (metadata.current_block != last_erased_block) {
        // Erase the block before writing to it
        err = w25m02gw_erase_block(nand_dev, metadata.current_block);
        if (err < 0) {
            printk("Failed to erase block %d\n", metadata.current_block);
            return DISK_ERR_UNKNOWN;
        }
        last_erased_block = metadata.current_block;
    }

    // Write data to the current page
    size_t write_size = MIN(length, PAGE_SIZE);
    err = w25m02gw_write(nand_dev, metadata.current_block, metadata.current_page, (uint8_t *)data, write_size);
    if (err < 0) {
        printk("Failed to write data to flash\n");
        return DISK_ERR_UNKNOWN;
    }

    // Update metadata
    metadata.size += write_size;

    // Move to the next page
    metadata.current_page++;
    if (metadata.current_page >= PAGES_PER_BLOCK) {
        // Move to the next block
        metadata.current_page = START_PAGE;
        metadata.current_block++;
        if (metadata.current_block >= TOTAL_BLOCKS) {
            printk("No more space on disk\n");
            return DISK_ERR_NO_SPACE;
        }
    }

    // Save metadata
    DiskStatus status = save_metadata();
    if (status != DISK_OK) {
        return status;
    }

    return DISK_OK;
}




DiskStatus disk_read_data(DataCallback callback) {
    static uint8_t buffer[PAGE_SIZE];
    uint16_t block = START_BLOCK;
    uint8_t page = START_PAGE;
    uint32_t total_read = 0;
    int err;

    while (total_read < metadata.size) {
        size_t read_size = MIN(PAGE_SIZE, metadata.size - total_read);

        err = w25m02gw_read(nand_dev, block, page, 0, buffer, read_size);
        if (err < 0) {
            printk("Failed to read data from flash\n");
            return DISK_ERR_UNKNOWN;
        }

        // Call the callback function
        callback(buffer, read_size);

        total_read += read_size;

        // Move to the next page
        page++;
        if (page >= PAGES_PER_BLOCK) {
            // Move to the next block
            page = START_PAGE;
            block++;
            if (block >= TOTAL_BLOCKS) {
                printk("Unexpected end of disk\n");
                return DISK_ERR_UNKNOWN;
            }
        }
    }

    return DISK_OK;
}



DiskStatus disk_add_event(uint32_t time, uint16_t event_number) {
    if (metadata.event_count >= MAX_EVENTS) {
        printk("Event list is full\n");
        return DISK_ERR_METADATA_INVALID;
    }
    LOG_INF("Attempting to add event: %d at time: %d", event_number, time);
    metadata.events[metadata.event_count].time = time;
    metadata.events[metadata.event_count].event_number = event_number;
    metadata.event_count++;

    // Save metadata
    DiskStatus status = save_metadata();
    if (status != DISK_OK) {
        return status;
    }

    LOG_INF("Successfully added event: %d at time: %d", event_number, time);

    return DISK_OK;
}

// Might not need this function
// DiskStatus disk_delete_recording(void) {

//     return 0;
// }


DiskStatus disk_get_recording_size(uint32_t *size) {
    if (!size) {
        return DISK_ERR_UNKNOWN;
    }
    *size = metadata.size;
    return DISK_OK;
}

DiskStatus disk_get_recording_name(char *name_buffer, size_t buffer_length) {
    if (!name_buffer || buffer_length == 0) {
        return DISK_ERR_UNKNOWN;
    }
    strncpy(name_buffer, metadata.name, buffer_length - 1);
    name_buffer[buffer_length - 1] = '\0'; // Ensure null-termination
    return DISK_OK;
}


DiskStatus disk_get_events(EventMark *events_buffer, uint16_t *event_count) {
    if (!events_buffer || !event_count) {
        return DISK_ERR_UNKNOWN;
    }
    if (*event_count < metadata.event_count) {
        // Not enough space in events_buffer
        return DISK_ERR_UNKNOWN;
    }
    memcpy(events_buffer, metadata.events, metadata.event_count * sizeof(EventMark));
    *event_count = metadata.event_count;
    return DISK_OK;
}


static DiskStatus load_metadata(void) {
    int err;
    uint8_t buffer[sizeof(DiskMetadata)];

    // Read the metadata from METADATA_BLOCK and METADATA_PAGE
    err = w25m02gw_read(nand_dev, METADATA_BLOCK, METADATA_PAGE, 0, buffer, sizeof(DiskMetadata));
    if (err < 0) {
        printk("Failed to read metadata\n");
        return DISK_ERR_UNKNOWN;
    }

    // Copy data into metadata structure
    memcpy(&metadata, buffer, sizeof(DiskMetadata));

    // Check if signature matches
    if (metadata.signature != METADATA_SIGNATURE) {
        // No valid metadata, initialize metadata
        memset(&metadata, 0, sizeof(DiskMetadata));
        metadata.signature = METADATA_SIGNATURE;
        LOG_INF("Initialized new metadata \n");
        return DISK_OK;
    }
    printk("Loaded metadata: %s, %d, %d\n", metadata.name, metadata.size, metadata.start_time);
    state_set_last_recording_name(metadata.name);
    state_set_last_recording_size(metadata.size);
    state_set_last_recording_start_time(metadata.start_time);
    return DISK_OK;
}



static DiskStatus save_metadata(void) {
    int err;

    static uint8_t buffer[sizeof(DiskMetadata)];

    // Copy metadata into buffer
    memcpy(buffer, &metadata, sizeof(DiskMetadata));

    // Erase the metadata block before writing
    err = w25m02gw_erase_block(nand_dev, METADATA_BLOCK);
    if (err < 0) {
        printk("Failed to erase metadata block\n");
        return DISK_ERR_UNKNOWN;
    }


    // Write metadata to METADATA_BLOCK and METADATA_PAGE

    err = w25m02gw_write(nand_dev, METADATA_BLOCK, METADATA_PAGE, buffer, sizeof(DiskMetadata));
    if (err < 0) {
        printk("Failed to write metadata\n");
        return DISK_ERR_UNKNOWN;
    }

    state_set_last_recording_name(metadata.name);
    state_set_last_recording_size(metadata.size);
    state_set_last_recording_start_time(metadata.start_time);


    return DISK_OK;
}



static DiskStatus erase_data_blocks(void) {
    int err;
    for (uint16_t block = START_BLOCK; block < TOTAL_BLOCKS; block++) {
        err = w25m02gw_erase_block(nand_dev, block);
        if (err < 0) {
            printk("Failed to erase block %d\n", block);
            return DISK_ERR_UNKNOWN;
        }
    }
    return DISK_OK;
}


int disk_has_data(void) {
    load_metadata();
    return metadata.signature == METADATA_SIGNATURE;
}
```

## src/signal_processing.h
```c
// #ifndef SIGNAL_PROCESSING_H_
// #define SIGNAL_PROCESSING_H_

// #include <stdint.h>
// #include <string.h>
// // Function prototypes
// void calculate_pulse_rate(const int32_t *samples, uint32_t sample_rate, float *hr);
// void accumulate_samples(const int32_t *new_samples, size_t size);

// #endif /* SIGNAL_PROCESSING_H_ */
```
